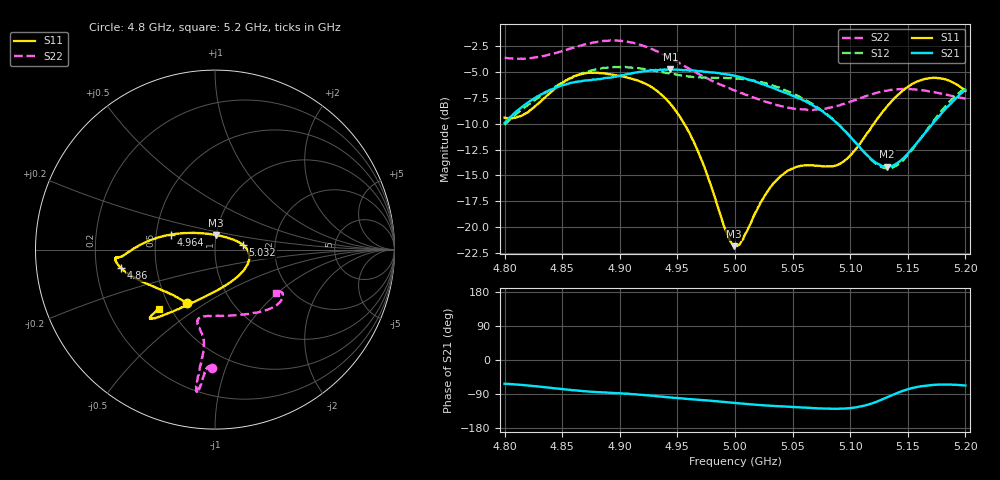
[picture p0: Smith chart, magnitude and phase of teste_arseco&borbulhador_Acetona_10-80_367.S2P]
! Network Analyzer HP8722D
! Hewlett-Packard
! Data name: Linha & Wilkinson
! Saver's name: Rodrigo Anjos
! Comments: Teste da utilização de aquisição
! continua pelo VNA HP8722D
! Time and date: 17/4/2025 17:25
!  Frequency  S11  S21  S12  S22
# HZ  S  MA R 50
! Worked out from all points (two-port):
!   401 points, 4.8 GHz to 5.2 GHz, reference 50 ohm
!   highest |S21| = -4.74 dB at 4.944 GHz (marker M1); lowest = -14.2 dB at 5.132 GHz (marker M2)
!   |S21| within 3 dB of the highest: 4.823 GHz to 5.059 GHz (236.1 MHz wide, 4.78 % of centre); 5.190129 GHz to end of sweep
!   lowest |S11| = -21.8 dB at 4.999 GHz (marker M3), VSWR 1.18, Z = 49.9 + j8.1 ohm
!   |S11| at or under -10 dB: 4.956 GHz to 5.121 GHz (164.7 MHz wide, 3.27 % of centre)
!   |S22| runs from -8.7 to -2.0 dB; largest |S21 - S12| = 0.87
!   S11 on the Smith chart (normalised r, x): 4.8 GHz: 0.62, -0.42; 4.86 GHz: 0.31, -0.09; 4.964 GHz: 0.60, +0.11; 5.032 GHz: 1.37, +0.07; 5.2 GHz: 0.43, -0.36
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4.8e9  0.338 -117.5  0.3186 -62.6  0.3131 -176.8  0.6573 -91.6
4.819e9  0.3566 -137.9  0.3953 -67.0  0.3841 -176.5  0.6535 -93.4
4.86e9  0.5354 -169.0  0.5005 -79.8  0.5323 179.9  0.7363 -95.6
4.867e9  0.5503 -171.7  0.5081 -81.8  0.552 178.7  0.7563 -95.9
4.899e9  0.5392 -175.6  0.5375 -88.0  0.5945 172.8  0.7956 -97.4
4.934e9  0.4469 178.8  0.5748 -96.1  0.5654 169.7  0.6986 -97.7
4.944e9  0.394 174.3  0.5793 -98.9  0.5509 169.8  0.6556 -97.3
4.964e9  0.2599 161.2  0.5703 -104.1  0.5318 171.5  0.5671 -96.5
4.992e9  0.09612 113.7  0.5493 -111.1  0.5261 173.7  0.4763 -98.7
4.999e9  0.08084 86.4  0.54 -113.1  0.5226 173.8  0.4595 -100.1
5e9  0.08125 82.1  0.5375 -113.5  0.5247 173.8  0.4569 -100.3
5.006e9  0.08626 58.4  0.5279 -115.0  0.5217 173.7  0.4446 -101.7
5.032e9  0.1584 9.1  0.4729 -120.9  0.4852 172.8  0.3949 -103.4
5.048e9  0.1897 -5.9  0.4373 -123.6  0.4476 172.2  0.3761 -98.8
5.067e9  0.1991 -26.1  0.39 -126.8  0.3951 171.8  0.3683 -88.0
5.095e9  0.2092 -74.5  0.2927 -128.2  0.2937 174.6  0.3945 -66.3
5.119e9  0.3078 -110.7  0.2119 -114.4  0.2097 -169.7  0.4393 -50.5
5.132e9  0.3832 -121.0  0.1958 -98.7  0.1922 -152.0  0.4563 -44.1
5.134e9  0.3942 -122.3  0.1964 -95.9  0.1924 -148.9  0.4593 -43.4
5.146e9  0.4585 -127.7  0.2149 -81.3  0.2101 -131.9  0.4656 -38.9
5.167e9  0.5214 -132.6  0.2931 -67.1  0.2971 -113.7  0.4549 -33.7
5.2e9  0.4555 -133.7  0.4613 -67.3  0.4718 -109.5  0.4177 -35.2
